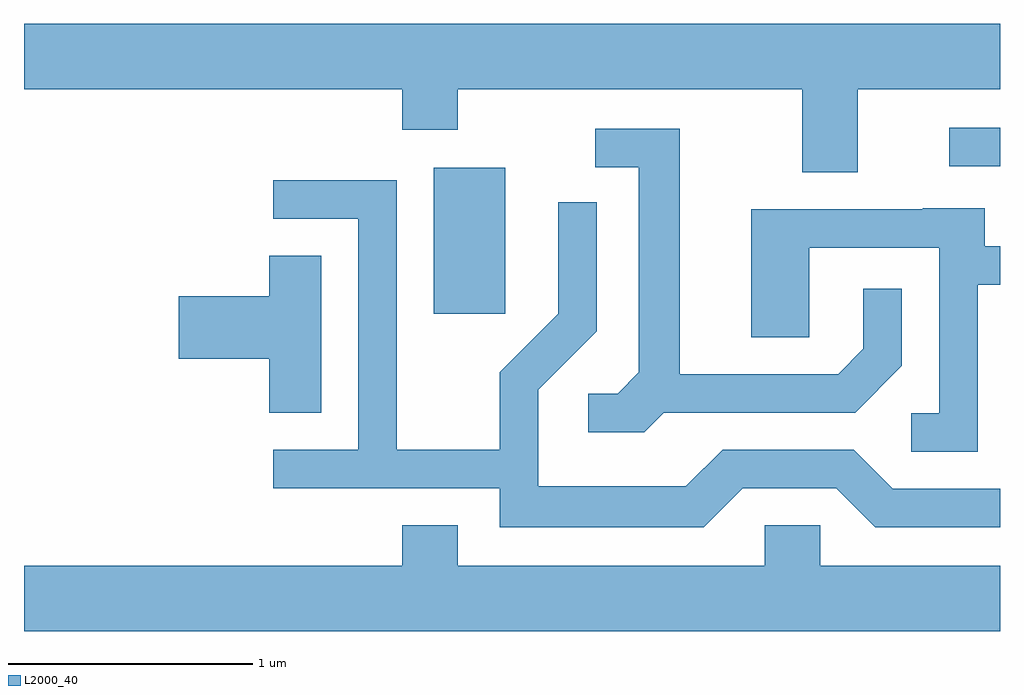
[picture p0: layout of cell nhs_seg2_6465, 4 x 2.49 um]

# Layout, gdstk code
import gdstk
lib = gdstk.Library(unit=1e-6, precision=1e-09)
def R(c, l, rs):  # rectangles x0, y0, x1, y1
    for r in rs: c.add(gdstk.rectangle(r[:2], r[2:], *l))
def P(c, l, *ps):  # polygons
    for p in ps: c.add(gdstk.Polygon(p, *l))
L2000_40 = (2000, 40)

nhs_seg2_6465 = lib.new_cell('nhs_seg2_6465')
R(nhs_seg2_6465, L2000_40, [(377.291,1058.496,377.584,1059.094), (379.403,1059.101,379.611,1059.259)])
P(nhs_seg2_6465, L2000_40, [(379.029,1059.416),(379.611,1059.416),(379.611,1059.684),(375.611,1059.684),(375.611,1059.416),(377.161,1059.416),(377.161,1059.251),(377.389,1059.251),(377.389,1059.416),(378.801,1059.416),(378.801,1059.076),(379.029,1059.076)],
  [(378.232,1058.091),(379.017,1058.091),(379.209,1058.284),(379.209,1058.598),(379.051,1058.598),(379.051,1058.352),(378.949,1058.249),(378.299,1058.249),(378.299,1059.254),(377.953,1059.254),(377.953,1059.096),(378.131,1059.096),(378.131,1058.257),(378.044,1058.169),(377.923,1058.169),(377.923,1058.011),(378.152,1058.011)],
  [(378.557,1057.781),(378.939,1057.781),(379.099,1057.621),(379.611,1057.621),(379.611,1057.779),(379.172,1057.779),(379.012,1057.939),(378.474,1057.939),(378.324,1057.789),(377.719,1057.789),(377.719,1058.184),(377.959,1058.424),(377.959,1058.953),(377.801,1058.953),(377.801,1058.497),(377.561,1058.257),(377.561,1057.939),(377.139,1057.939),(377.139,1059.044),(376.633,1059.044),(376.633,1058.886),(376.981,1058.886),(376.981,1057.939),(376.633,1057.939),(376.633,1057.781),(377.561,1057.781),(377.561,1057.621),(378.397,1057.621)],
  [(379.519,1058.616),(379.611,1058.616),(379.611,1058.774),(379.549,1058.774),(379.549,1058.929),(379.295,1058.929),(379.295,1058.924),(378.591,1058.924),(378.591,1058.401),(378.829,1058.401),(378.829,1058.766),(379.361,1058.766),(379.361,1058.089),(379.248,1058.089),(379.248,1057.931),(379.519,1057.931)],
  [(376.829,1058.734),(376.616,1058.734),(376.616,1058.569),(376.246,1058.569),(376.246,1058.311),(376.616,1058.311),(376.616,1058.091),(376.829,1058.091)],
  [(379.611,1057.464),(378.874,1057.464),(378.874,1057.629),(378.646,1057.629),(378.646,1057.464),(377.389,1057.464),(377.389,1057.629),(377.161,1057.629),(377.161,1057.464),(375.611,1057.464),(375.611,1057.196),(379.611,1057.196)])

lib.write_gds('nhs_seg2_6465.gds')
